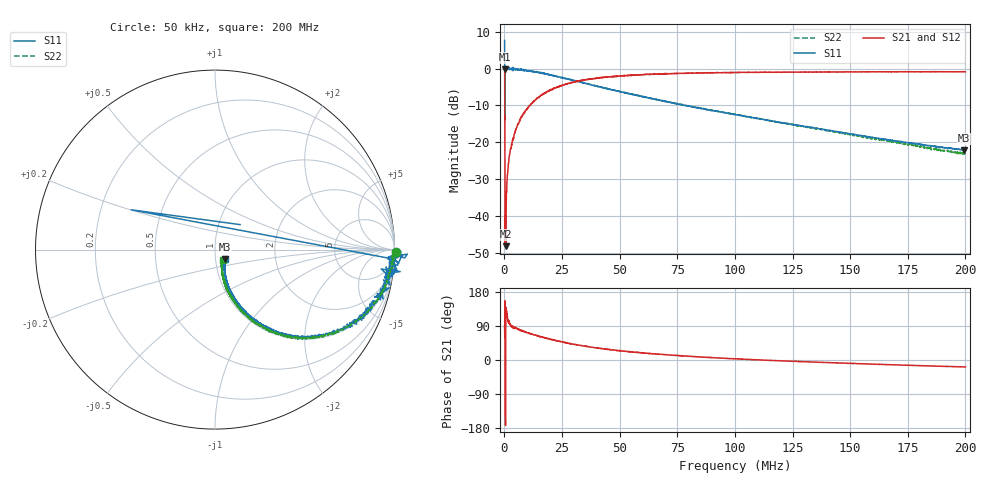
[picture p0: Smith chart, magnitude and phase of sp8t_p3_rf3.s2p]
! 26-Feb-26 11:42:13 AM
! E:\VNA_MEASUREMENTS\SP8T\SP8T_P3_RF3.S2P
! CHANNEL.1
! TR.MEASUREMENT
! CORRECTED.DATA
# GHZ S RI R 50.0
! FREQ.GHZ  S11RE  S11IM  S21RE  S21IM  S12RE  S12IM  S22RE  S22IM
!; PortSelection: Port_12
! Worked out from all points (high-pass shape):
!   2000 points, 50 kHz to 200 MHz, reference 50 ohm
!   highest |S21| = -0.23 dB at 50 kHz (marker M1); lowest = -48.1 dB at 550.1 kHz (marker M2)
!   |S21| within 3 dB of the highest: 33.39 MHz to 34 MHz (613.8 kHz wide, 1.82 % of centre); 34.11 MHz to end of sweep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
!   lowest |S11| = -22.1 dB at 199.5 MHz (marker M3), VSWR 1.17, Z = 55.6 - j6.09 ohm
!   |S11| at or under -10 dB: 131.1 kHz to 199.1 kHz (67.98 kHz wide, 41.2 % of centre); 78.59549 MHz to 78.83417 MHz (238.7 kHz wide, 0.303 % of centre); 78.9 MHz to end of sweep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
!   |S22| runs from -23.3 to 0.1 dB; largest |S21 - S12| = 0.97
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5e-05  2.38 0.3227  0.0172 0.9742  -0.0208 0.00741  1.009 -0.0142
0.000550125  1.056 -0.0467  -0.0013 0.00371  -0.00144 0.0153  0.9861 -0.0215
0.001150275  0.9957 -0.0394  -0.0169 0.0267  -0.00347 0.0317  0.9901 -0.0394
0.0012503  0.9859 -0.038  -0.0152 0.0336  -0.00274 0.0337  0.9981 -0.0532
0.001350325  1 -0.0534  -0.0111 0.0362  -0.00388 0.0373  0.9935 -0.0432
0.001750425  1.017 -0.0873  -0.00768 0.0526  -0.00238 0.0501  0.998 -0.0629
0.0020505  0.9667 -0.0417  -0.0112 0.0641  -0.00198 0.0601  0.994 -0.0812
0.00265065  0.993 -0.071  -0.00443 0.0812  0.000122 0.0781  0.9912 -0.1016
0.0032508  0.9664 -0.1312  0.00413 0.0978  0.00427 0.0959  0.9839 -0.1118
0.005451351  0.9632 -0.1765  0.0224 0.1618  0.0229 0.1623  0.9615 -0.1845
0.008552126  0.92 -0.2668  0.0684 0.2444  0.0674 0.2447  0.9155 -0.2669
0.0124531  0.8502 -0.3468  0.1393 0.329  0.1375 0.3276  0.8401 -0.356
0.01745435  0.736 -0.428  0.2449 0.3996  0.2413 0.3969  0.7343 -0.4332
0.02355588  0.6067 -0.4764  0.3741 0.4362  0.3717 0.4341  0.6054 -0.4803
0.03345835  0.4368 -0.4809  0.5508 0.4234  0.5398 0.4209  0.4259 -0.4933
0.04636158  0.2856 -0.4333  0.6921 0.3489  0.6921 0.3506  0.2773 -0.4369
0.06676668  0.1614 -0.3396  0.8121 0.228  0.814 0.2271  0.1505 -0.3458
0.100075  0.0817 -0.2245  0.8845 0.0449  0.8827 0.0478  0.0696 -0.2305
0.1333833  0.0576 -0.1478  0.8929 -0.082  0.8918 -0.082  0.0446 -0.1517
0.1666917  0.0533 -0.0949  0.8829 -0.1937  0.8852 -0.1946  0.0379 -0.0979
0.1994999  0.0562 -0.0544  0.8578 -0.287  0.8576 -0.2875  0.0404 -0.0559
0.2  0.0574 -0.0541  0.8576 -0.2841  0.8557 -0.2855  0.0421 -0.0571
